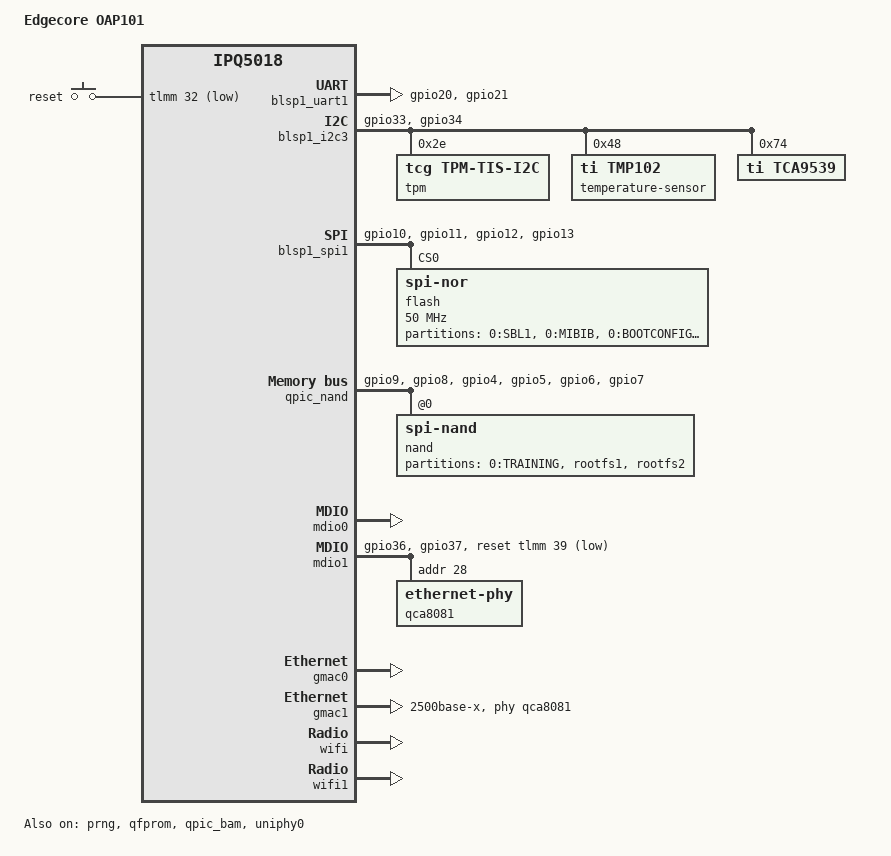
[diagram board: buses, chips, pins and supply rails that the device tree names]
/dts-v1/;

#include "ipq5018.dtsi"
#include "ipq5018-ess.dtsi"
#include "ipq5018-qcn6122.dtsi"

#include <dt-bindings/gpio/gpio.h>
#include <dt-bindings/input/input.h>
#include <dt-bindings/leds/common.h>

/ {
	model = "Edgecore OAP101";
	compatible = "edgecore,oap101", "qcom,ipq5018";

	aliases {
		serial0 = &blsp1_uart1;
	};

	chosen {
		bootargs-append = " swiotlb=1 coherent_pool=2M";
		stdout-path = "serial0:115200n8";
	};

	keys {
		compatible = "gpio-keys";
		pinctrl-0 = <&button_pins>;
		pinctrl-names = "default";

		button-reset {
			label = "reset";
			gpios = <&tlmm 32 GPIO_ACTIVE_LOW>;
			linux,code = <KEY_RESTART>;
		};
	};
};

&sleep_clk {
	clock-frequency = <32000>;
};

&xo_board_clk {
	clock-div = <4>;
	clock-mult = <1>;
};

&prng {
	status = "okay";
};

&qfprom {
	status = "okay";
};

&tlmm {
	serial_0_pins: uart0-state {
		pins = "gpio20", "gpio21";
		function = "blsp0_uart0";
		drive-strength = <8>;
		bias-disable;
	};

	i2c_pins: i2c-pins {
		pins = "gpio33", "gpio34";
		function = "blsp2_i2c0";
		drive-strength = <8>;
		bias-pull-up;
	};

	spi_pins: spi-pins {
		pins = "gpio10", "gpio11", "gpio12", "gpio13";
		function = "blsp0_spi";
		drive-strength = <2>;
		bias-disable;
	};

	qpic_pins: qpic-state {
		clock-pins {
			pins = "gpio9";
			function = "qspi_clk";
			drive-strength = <8>;
			bias-disable;
		};

		cs-pins {
			pins = "gpio8";
			function = "qspi_cs";
			drive-strength = <8>;
			bias-disable;
		};

		data-pins {
			pins = "gpio4", "gpio5", "gpio6", "gpio7";
			function = "qspi_data";
			drive-strength = <8>;
			bias-disable;
		};
	};

	mdio1_pins: mdio-state {
		mdc-pins {
			pins = "gpio36";
			function = "mdc";
			drive-strength = <8>;
			bias-pull-up;
		};

		mdio-pins {
			pins = "gpio37";
			function = "mdio";
			drive-strength = <8>;
			bias-pull-up;
		};
	};

	button_pins: button_pins {
		pins = "gpio32";
		function = "gpio";
		drive-strength = <8>;
		bias-pull-up;
	};
};

&blsp1_uart1 {
	pinctrl-0 = <&serial_0_pins>;
	pinctrl-names = "default";
	status = "okay";
};

&blsp1_i2c3 {
	pinctrl-0 = <&i2c_pins>;
	pinctrl-names = "default";
	status = "okay";

	tpm@2e {
		compatible = "tcg,tpm-tis-i2c";
		reg = <0x2e>;
	};

	temperature-sensor@48 {
		compatible = "ti,tmp102";
		reg = <0x48>;
		#thermal-sensor-cells = <1>;
	};

	tca9539: gpio@74 {
		compatible = "ti,tca9539";
		reg = <0x74>;
		gpio-controller;
		#gpio-cells = <2>;
	};
};

&blsp1_spi1 {
	pinctrl-0 = <&spi_pins>;
	pinctrl-names = "default";
	status = "okay";

	flash@0 {
		compatible = "jedec,spi-nor";
		reg = <0>;
		spi-max-frequency = <50000000>;

		partitions {
			compatible = "fixed-partitions";
			#address-cells = <1>;
			#size-cells = <1>;

			partition@0 {
				label = "0:SBL1";
				reg = <0x0 0x30000>;
				read-only;
			};

			partition@30000 {
				label = "0:MIBIB";
				reg = <0x30000 0x10000>;
				read-only;
			};

			partition@40000 {
				label = "0:BOOTCONFIG";
				reg = <0x40000 0x10000>;
				read-only;
			};

			partition@50000 {
				label = "0:BOOTCONFIG1";
				reg = <0x50000 0x10000>;
				read-only;
			};

			partition@60000 {
				label = "0:QSEE";
				reg = <0x60000 0xa0000>;
				read-only;
			};

			partition@100000 {
				label = "0:QSEE_1";
				reg = <0x100000 0xa0000>;
				read-only;
			};

			partition@1a0000 {
				label = "0:DEVCFG";
				reg = <0x1a0000 0x10000>;
				read-only;
			};

			partition@1b0000 {
				label = "0:DEVCFG_1";
				reg = <0x1b0000 0x10000>;
				read-only;
			};

			partition@1c0000 {
				label = "0:CDT";
				reg = <0x1c0000 0x10000>;
				read-only;
			};

			partition@1d0000 {
				label = "0:CDT_1";
				reg = <0x1d0000 0x10000>;
				read-only;
			};

			partition@1e0000 {
				label = "0:APPSBLENV";
				reg = <0x1e0000 0x10000>;
			};

			partition@1f0000 {
				label = "0:APPSBL";
				reg = <0x1f0000 0xa0000>;
				read-only;
			};

			partition@290000 {
				label = "0:APPSBL_1";
				reg = <0x290000 0xa0000>;
				read-only;
			};

			partition@330000 {
				label = "0:ART";
				reg = <0x330000 0x70000>;
				read-only;

				nvmem-layout {
					compatible = "fixed-layout";
					#address-cells = <1>;
					#size-cells = <1>;

					hw_mac_addr: mac-address@0 {
						compatible = "mac-base";
						reg = <0x0 0x6>;
						#nvmem-cell-cells = <1>;
					};

					caldata_ipq5018: calibration@1000 {
						reg = <0x1000 0x20000>;
					};

					caldata_qcn6122: calibration@26800 {
						reg = <0x26800 0x20000>;
					};
				};
			};

			partition@3a0000 {
				label = "priv_data1";
				reg = <0x3a0000 0x10000>;
			};

			partition@3b0000 {
				label = "priv_data2";
				reg = <0x3b0000 0x10000>;
			};
		};
	};
};

&qpic_bam {
	status = "okay";
};

&qpic_nand {
	pinctrl-0 = <&qpic_pins>;
	pinctrl-names = "default";
	status = "okay";

	nand@0 {
		compatible = "spi-nand";
		reg = <0>;
		nand-ecc-engine = <&qpic_nand>;
		nand-bus-width = <8>;

		partitions {
			compatible = "fixed-partitions";
			#address-cells = <1>;
			#size-cells = <1>;

			partition@0 {
				label = "0:TRAINING";
				reg = <0x0 0x80000>;
			};

			partition@80000 {
				label = "rootfs1";
				reg = <0x80000 0x3e00000>;
			};

			partition@3e80000 {
				label = "rootfs2";
				reg = <0x3e80000 0x3e00000>;
			};
		};
	};
};

&mdio0 {
	status = "okay";
};

&mdio1 {
	status = "okay";
	pinctrl-0 = <&mdio1_pins>;
	pinctrl-names = "default";
	reset-gpios = <&tlmm 39 GPIO_ACTIVE_LOW>;

	qca8081: ethernet-phy@28 {
		reg = <28>;
	};
};

&uniphy0 {
	status = "okay";

	assigned-clocks = <&uniphy0 UNIPHY_CLK_REF>;
	assigned-clock-rates = <UNIPHY_REFCLK_50MHZ>;
};

&gmac0 {
	status = "okay";

	label = "lan";
	nvmem-cells = <&hw_mac_addr 1>;
	nvmem-cell-names = "mac-address";
};

&gmac1 {
	status = "okay";

	phy-handle = <&qca8081>;
	phy-mode = "2500base-x";
	label = "wan";
	nvmem-cells = <&hw_mac_addr 0>;
	nvmem-cell-names = "mac-address";
};

&q6_region {
	reg = <0x0 0x4b000000 0x0 0x4d00000>;
};

&q6v5_wcss {
	/* Stock WCSS mapping; the QCN6122 on PCIe1 uses user PD2. */
	boot-args = <
		/*       type: */	0x1	/* PCIe0 */
		/*     length: */	4
		/*     UPD ID: */	3
		/* reset GPIO: */	15
		/*   reserved: */	0 0
		/*       type: */	0x2	/* PCIe1 */
		/*     length: */	4
		/*     UPD ID: */	2
		/* reset GPIO: */	18
		/*   reserved: */	0 0>;
};

&wifi {
	status = "okay";

	qcom,rproc = <&q6_wcss_pd1>;
	qcom,calibration-variant = "Edgecore-OAP101";
	qcom,ath11k-fw-memory-mode = <1>;
	qcom,bdf-addr = <0x4c400000>;

	nvmem-cells = <&caldata_ipq5018>;
	nvmem-cell-names = "calibration";
};

&wifi1 {
	status = "okay";

	qcom,rproc = <&q6_wcss_pd2>;
	qcom,userpd-subsys-name = "q6v5_wcss_userpd2";
	qcom,calibration-variant = "Edgecore-OAP101";
	qcom,ath11k-fw-memory-mode = <1>;
	qcom,bdf-addr = <0x4d100000>;
	qcom,m3-dump-addr = <0x4df00000>;

	nvmem-cells = <&caldata_qcn6122>;
	nvmem-cell-names = "calibration";
};
